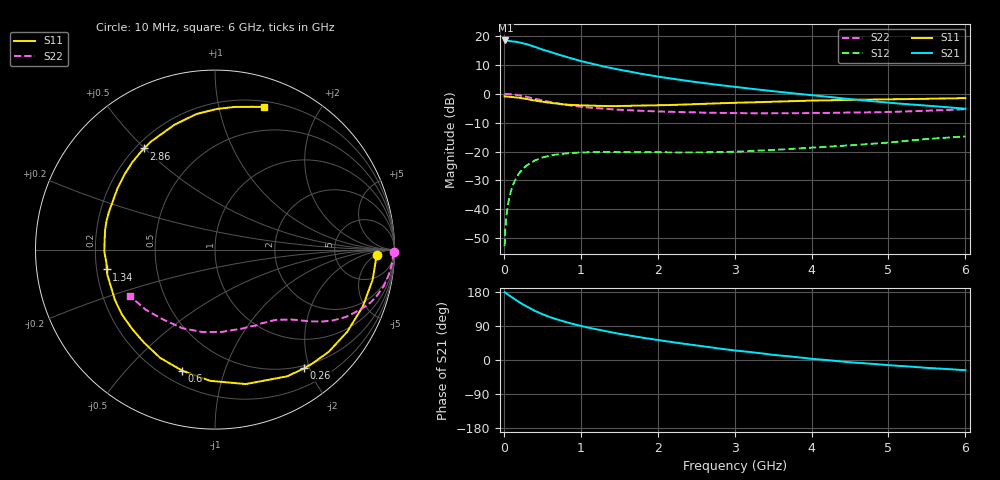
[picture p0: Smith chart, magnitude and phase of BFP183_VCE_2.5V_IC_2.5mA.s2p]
! Infineon Technologies  Discrete & RF Semiconductors
! BFP183
! VCE = 2.5 V,  IC =  2.5 mA
! Common Emitter S-Parameters:  Jan 2016
# GHz  S  MA  R  50
!  f  S11  S21  S12  S22
! GHz  MAG  ANG  MAG  ANG  MAG  ANG  MAG  ANG
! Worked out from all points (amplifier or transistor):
!   210 points, 10 MHz to 6 GHz, reference 50 ohm
!   highest |S21| = 18.4 dB at 20 MHz (marker M1)
!   |S21| within 3 dB of that: start of sweep to 485.8 MHz
!   unconditionally stable (mu >= 1): 1.957 GHz to 5.831 GHz
!   at 185 MHz: K = 0.10, MSG = 23.0 dB, |S12| = -28.1 dB
!   at 1.52 GHz: K = 0.79, MSG = 14.2 dB, |S12| = -20.2 dB
!   at 6 GHz: K = 0.96, MSG = 4.8 dB, |S12| = -14.8 dB
!   S11 on the Smith chart (normalised r, x): 10 MHz: 17, -6; 260 MHz: 0.46, -1.92; 600 MHz: 0.28, -0.73; 1.34 GHz: 0.24, -0.09; 2.86 GHz: 0.23, +0.50; 6 GHz: 0.25, +1.37
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0.01  0.9009 -2.0  8.252 178.9  0.0023 85.8  0.9973 -0.9
0.02  0.8975 -4.3  8.364 177.8  0.0046 89.6  0.9926 -1.7
0.04  0.894 -8.6  8.298 174.6  0.0091 87.9  0.9909 -3.4
0.065  0.8877 -13.8  8.201 171.0  0.0145 82.8  0.9861 -5.4
0.15  0.8674 -31.8  7.997 159.1  0.0327 72.1  0.9616 -12.3
0.2  0.852 -41.8  7.741 152.6  0.0423 67.6  0.9379 -15.9
0.26  0.8275 -53.1  7.365 145.2  0.0521 61.2  0.9051 -19.8
0.3  0.8122 -60.4  7.198 140.9  0.0577 57.9  0.8793 -22.1
0.4  0.7685 -77.1  6.512 129.9  0.0699 49.6  0.8206 -27.2
0.5  0.7317 -92.1  5.834 120.8  0.0789 42.8  0.767 -31.0
0.6  0.699 -105.1  5.336 113.2  0.0854 37.4  0.7189 -33.9
0.7  0.6762 -116.9  4.802 106.4  0.0895 33.0  0.6779 -36.2
0.8  0.6515 -127.6  4.41 100.3  0.0923 29.3  0.6449 -38.1
1.02  0.6296 -146.9  3.629 89.0  0.0962 23.5  0.5925 -41.4
1.34  0.6126 -169.6  2.882 75.5  0.0983 18.0  0.5461 -45.6
1.6  0.6171 175.5  2.466 65.8  0.0978 15.9  0.5198 -48.9
2.02  0.6295 155.3  1.963 52.2  0.0972 14.7  0.4946 -55.0
2.86  0.688 125.0  1.384 28.8  0.0983 17.8  0.4654 -70.8
3.1  0.7028 118.2  1.273 23.2  0.1006 19.4  0.4595 -76.1
4.1  0.7651 96.1  0.917 1.5  0.1186 23.9  0.4642 -101.2
5.1  0.8043 81.2  0.682 -14.9  0.1472 25.0  0.4872 -128.5
6  0.8402 71.0  0.551 -27.0  0.1821 19.6  0.5402 -151.4
